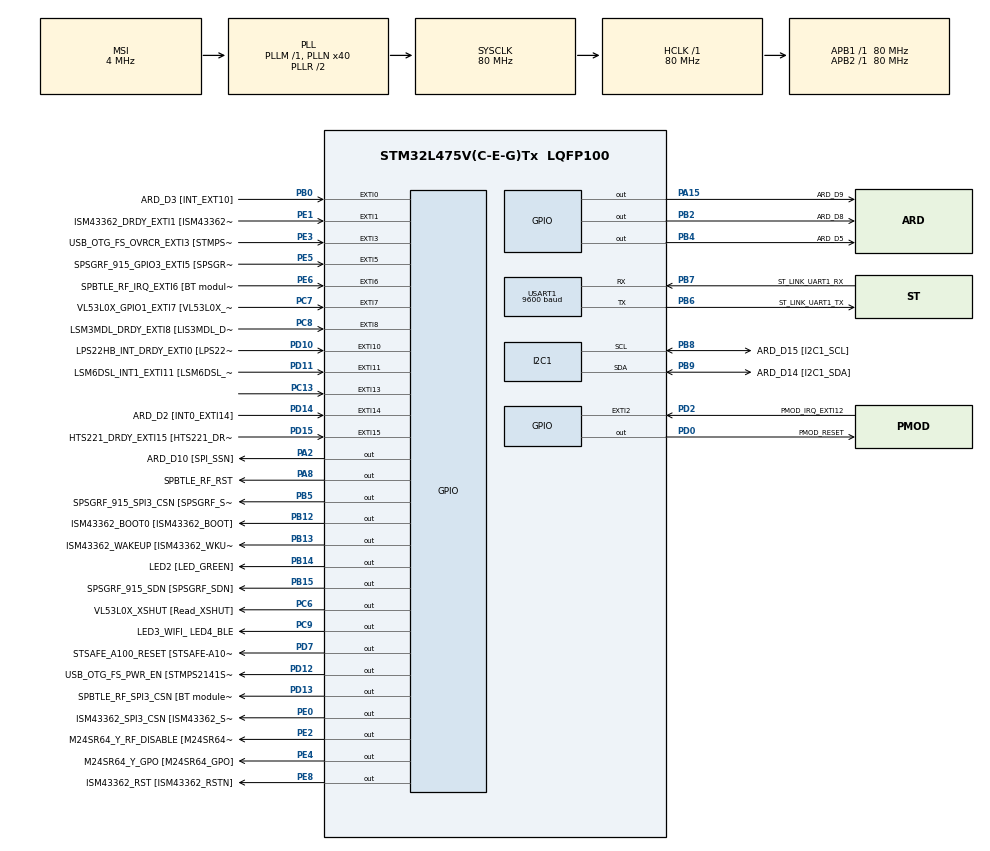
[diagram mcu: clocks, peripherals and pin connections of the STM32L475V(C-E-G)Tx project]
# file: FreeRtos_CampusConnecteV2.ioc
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FREERTOS.BinarySemaphores01=myBinarySem01,Dynamic,NULL
FREERTOS.Queues01=myQueue01,16,uint16_t,0,Dynamic,NULL,NULL
FREERTOS.Tasks01=defaultTask,0,128,StartDefaultTask,Default,NULL,Dynamic,NULL,NULL
FREERTOS.configUSE_NEWLIB_REENTRANT=1
I2C1.Timing=0x10909CEC
Mcu.Family=STM32L4
Mcu.Name=STM32L475V(C-E-G)Tx
Mcu.Package=LQFP100
NVIC.EXTI15_10_IRQn=true\:5\:0\:false\:false\:true\:true\:true\:true
NVIC.EXTI9_5_IRQn=true\:5\:0\:false\:false\:true\:true\:true\:true
NVIC.PriorityGroup=NVIC_PRIORITYGROUP_4
NVIC.TIM7_IRQn=true\:15\:0\:false\:false\:true\:false\:false\:true
NVIC.TimeBase=TIM7_IRQn
NVIC.TimeBaseIP=TIM7
PA0.GPIO_Label=ARD_D1 [UART4_TX]
PA0.Signal=UART4_TX
PA1.GPIO_Label=ARD_D0 [UART4_RX]
PA1.Signal=UART4_RX
PA10.GPIO_Label=USB_OTG_FS_ID
PA10.Signal=USB_OTG_FS_ID
PA11.GPIO_Label=USB_OTG_FS_DM
PA11.Signal=USB_OTG_FS_DM
PA12.GPIO_Label=USB_OTG_FS_DP
PA12.Signal=USB_OTG_FS_DP
PA13\ (JTMS-SWDIO).GPIO_Label=SYS_JTMS_SWDIO
PA13\ (JTMS-SWDIO).Signal=SYS_JTMS-SWDIO
PA14\ (JTCK-SWCLK).GPIO_Label=SYS_JTCK_SWCLK
PA14\ (JTCK-SWCLK).Signal=SYS_JTCK-SWCLK
PA15\ (JTDI).GPIO_Label=ARD_D9
PA15\ (JTDI).Signal=GPIO_Output
PA2.GPIO_Label=ARD_D10 [SPI_SSN]
PA2.Signal=GPIO_Output
PA3.GPIO_Label=ARD_D4
PA3.Signal=S_TIM2_CH4
PA4.GPIO_Label=ARD_D7
PA4.Signal=ADCx_IN9
PA5.GPIO_Label=ARD_D13 [SPI1_SCK]
PA5.Signal=SPI1_SCK
PA6.GPIO_Label=ARD_D12 [SPI1_MISO]
PA6.Signal=SPI1_MISO
PA7.GPIO_Label=ARD_D11 [SPI1_MOSI]
PA7.Signal=SPI1_MOSI
PA8.GPIO_Label=SPBTLE_RF_RST
PA8.Signal=GPIO_Output
PA9.GPIO_Label=USB_OTG_FS_VBUS [STMPS2141STR_OUT]
PA9.Signal=USB_OTG_FS_VBUS
PB0.GPIO_Label=ARD_D3 [INT_EXT10]
PB0.Signal=GPXTI0
PB1.GPIO_Label=ARD_D6 [ADC1_IN6]
PB1.Signal=ADCx_IN16
PB10.GPIO_Label=INTERNAL_I2C2_SCL [VL53L0X_SCL]
PB10.Signal=I2C2_SCL
PB11.GPIO_Label=INTERNAL_I2C2_SDA [VL53L0X_SDA]
PB11.Signal=I2C2_SDA
PB12.GPIO_Label=ISM43362_BOOT0 [ISM43362_BOOT]
PB12.Signal=GPIO_Output
PB13.GPIO_Label=ISM43362_WAKEUP [ISM43362_WKUP]
PB13.Signal=GPIO_Output
PB14.GPIO_Label=LED2 [LED_GREEN]
PB14.Signal=GPIO_Output
PB15.GPIO_Label=SPSGRF_915_SDN [SPSGRF_SDN]
PB15.Signal=GPIO_Output
PB2.GPIO_Label=ARD_D8
PB2.Signal=GPIO_Output
PB3\ (JTDO-TRACESWO).GPIO_Label=SYS_JTD0_SWO
PB3\ (JTDO-TRACESWO).Signal=SYS_JTDO-SWO
PB4\ (NJTRST).GPIO_Label=ARD_D5
PB4\ (NJTRST).Signal=GPIO_Output
PB5.GPIO_Label=SPSGRF_915_SPI3_CSN [SPSGRF_SPI_CS]
PB5.PinState=GPIO_PIN_SET
PB5.Signal=GPIO_Output
PB6.GPIO_Label=ST_LINK_UART1_TX
PB6.Mode=Asynchronous
PB6.Signal=USART1_TX
PB7.GPIO_Label=ST_LINK_UART1_RX
PB7.Mode=Asynchronous
PB7.Signal=USART1_RX
PB8.GPIO_Label=ARD_D15 [I2C1_SCL]
PB8.Mode=I2C
PB8.Signal=I2C1_SCL
PB9.GPIO_Label=ARD_D14 [I2C1_SDA]
PB9.Mode=I2C
PB9.Signal=I2C1_SDA
PC0.GPIO_Label=ARD_A5 [ADC]
PC0.Signal=ADCx_IN1
PC1.GPIO_Label=ARD_A4 [ADC]
PC1.Signal=ADCx_IN2
PC10.GPIO_Label=INTERNAL_SPI3_SCK [BT module_SPI_SCLK] [ISM43362_SCK]
PC10.Signal=SPI3_SCK
PC11.GPIO_Label=INTERNAL_SPI3_MISO [BT module_SPI_MISO] [ISM43362_MISO]
PC11.Signal=SPI3_MISO
PC12.GPIO_Label=INTERNAL_SPI3_MOSI [BT module_SPI_MOSI] [ISM43362_MOSI]
PC12.Signal=SPI3_MOSI
PC13.Signal=GPXTI13
PC14-OSC32_IN\ (PC14).Signal=RCC_OSC32_IN
PC15-OSC32_OUT\ (PC15).Signal=RCC_OSC32_OUT
PC2.GPIO_Label=ARD_A3 [ADC]
PC2.Signal=ADCx_IN3
PC3.GPIO_Label=ARD_A2 [ADC]
PC3.Signal=ADCx_IN4
PC4.GPIO_Label=ARD_A1 [ADC]
PC4.Signal=ADCx_IN13
PC5.GPIO_Label=ARD_A0 [ADC]
PC5.Signal=ADCx_IN14
PC6.GPIO_Label=VL53L0X_XSHUT [Read_XSHUT]
PC6.Signal=GPIO_Output
PC7.GPIO_Label=VL53L0X_GPIO1_EXTI7 [VL53L0X_GPIO1]
PC7.Signal=GPXTI7
PC8.GPIO_Label=LSM3MDL_DRDY_EXTI8 [LIS3MDL_DRDY]
PC8.Signal=GPXTI8
PC9.GPIO_Label=LED3_WIFI_ LED4_BLE
PC9.Signal=GPIO_Output
PD0.GPIO_Label=PMOD_RESET
PD0.Signal=GPIO_Output
PD1.GPIO_Label=PMOD_SPI2_SCK
PD1.Signal=SPI2_SCK
PD10.GPIO_Label=LPS22HB_INT_DRDY_EXTI0 [LPS22HB_INT_DRDY] 
PD10.Signal=GPXTI10
PD11.GPIO_Label=LSM6DSL_INT1_EXTI11 [LSM6DSL_INT1]
PD11.Signal=GPXTI11
PD12.GPIO_Label=USB_OTG_FS_PWR_EN [STMPS2141STR_EN]
PD12.Signal=GPIO_Output
PD13.GPIO_Label=SPBTLE_RF_SPI3_CSN [BT module_SPI_CS]
PD13.PinState=GPIO_PIN_SET
PD13.Signal=GPIO_Output
PD14.GPIO_Label=ARD_D2 [INT0_EXTI14]
PD14.Signal=GPXTI14
PD15.GPIO_Label=HTS221_DRDY_EXTI15 [HTS221_DRDY]
PD15.Signal=GPXTI15
PD2.GPIO_Label=PMOD_IRQ_EXTI12
PD2.Signal=GPXTI2
PD3.GPIO_Label=PMOD_UART2_CTS
PD3.Signal=USART2_CTS
PD4.GPIO_Label=PMOD_UART2_RTS
PD4.Signal=USART2_RTS
PD5.GPIO_Label=PMOD_UART2_TX
PD5.Signal=USART2_TX
PD6.GPIO_Label=PMOD_UART2_RX
PD6.Signal=USART2_RX
PD7.GPIO_Label=STSAFE_A100_RESET [STSAFE-A100_RESET]
PD7.Signal=GPIO_Output
PD8.GPIO_Label=INTERNAL_UART3_TX [ISM43362_RX]
PD8.Signal=USART3_TX
PD9.GPIO_Label=INTERNAL_UART3_RX [ISM43362_TX]
PD9.Signal=USART3_RX
PE0.GPIO_Label=ISM43362_SPI3_CSN [ISM43362_SSN]
PE0.PinState=GPIO_PIN_SET
PE0.Signal=GPIO_Output
PE1.GPIO_Label=ISM43362_DRDY_EXTI1 [ISM43362_DATARDY]
PE1.Signal=GPXTI1
PE10.GPIO_Label=QUADSPI_CLK [MX25R6435F_SCLK]
PE10.Signal=QUADSPI_CLK
PE11.GPIO_Label=QUADSPI_NCS [MX25R6435F_SCLK]
PE11.Signal=QUADSPI_NCS
PE12.GPIO_Label=OQUADSPI_BK1_IO0 [MX25R6435F_IO0]
PE12.Signal=QUADSPI_BK1_IO0
PE13.GPIO_Label=QUADSPI_BK1_IO1 [MX25R6435F_IO1]
PE13.Signal=QUADSPI_BK1_IO1
PE14.GPIO_Label=QUAD_SPI_BK1_IO2 [MX25R6435F_IO2]
PE14.Signal=QUADSPI_BK1_IO2
PE15.GPIO_Label=QUAD_SPI_BK1_IO3 [MX25R6435F_IO3]
PE15.Signal=QUADSPI_BK1_IO3
PE2.GPIO_Label=M24SR64_Y_RF_DISABLE [M24SR64_RFDIS]
PE2.Signal=GPIO_Output
PE3.GPIO_Label=USB_OTG_FS_OVRCR_EXTI3 [STMPS2141STR_FAULT]
PE3.Signal=GPXTI3
PE4.GPIO_Label=M24SR64_Y_GPO [M24SR64_GPO]
PE4.Signal=GPIO_Output
PE5.GPIO_Label=SPSGRF_915_GPIO3_EXTI5 [SPSGRF_GPIO_3]
PE5.Signal=GPXTI5
PE6.GPIO_Label=SPBTLE_RF_IRQ_EXTI6 [BT module_SPI_IRQ]
PE6.Signal=GPXTI6
PE7.GPIO_Label=DFSDM1_DATIN2 [MP34DT01_DOUT]
PE7.Signal=S_DATAIN2DFSDM1
PE8.GPIO_Label=ISM43362_RST [ISM43362_RSTN]
PE8.Signal=GPIO_Output
PE9.GPIO_Label=DFSDM1_CKOUT [MP34DT01_CLK]
PE9.Signal=S_CKOUTDFSDM1
ProjectManager.HeapSize=0x200
ProjectManager.StackSize=0x400
ProjectManager.TargetToolchain=STM32CubeIDE
RCC.ADCFreq_Value=48000000
RCC.AHBFreq_Value=80000000
RCC.APB1Freq_Value=80000000
RCC.APB1TimFreq_Value=80000000
RCC.APB2Freq_Value=80000000
RCC.APB2TimFreq_Value=80000000
RCC.CortexFreq_Value=80000000
RCC.HCLKFreq_Value=80000000
RCC.HSE_VALUE=8000000
RCC.HSI_VALUE=16000000
RCC.LSE_VALUE=32768
RCC.MSI_VALUE=4000000
RCC.PLLN=40
RCC.PLLSAI1N=24
RCC.SYSCLKFreq_VALUE=80000000
RCC.SYSCLKSource=RCC_SYSCLKSOURCE_PLLCLK
RCC.USBFreq_Value=48000000
RCC.VCOOutputFreq_Value=160000000
SH.ADCx_IN1.0=ADC1_IN1
SH.ADCx_IN13.0=ADC1_IN13
SH.ADCx_IN14.0=ADC1_IN14
SH.ADCx_IN16.0=ADC1_IN16
SH.ADCx_IN2.0=ADC1_IN2
SH.ADCx_IN3.0=ADC1_IN3
SH.ADCx_IN4.0=ADC1_IN4
SH.ADCx_IN9.0=ADC1_IN9
SH.S_CKOUTDFSDM1.0=DFSDM1_CKOUT
SH.S_DATAIN2DFSDM1.0=DFSDM1_DATIN2
SH.S_TIM2_CH4.0=TIM2_CH4
USART1.BaudRate=9600
USART1.VirtualMode-Asynchronous=VM_ASYNC
VP_FREERTOS_VS_CMSIS_V1.Mode=CMSIS_V1
VP_SYS_VS_tim7.Mode=TIM7
board=B-L475E-IOT01A1

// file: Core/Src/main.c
/* USER CODE BEGIN Header */
/**
  ******************************************************************************
  * @file           : main.c
  * @brief          : Main program body
  ******************************************************************************
  * @attention
  *
  * Copyright (c) 2022 STMicroelectronics.
  * All rights reserved.
  *
  * This software is licensed under terms that can be found in the LICENSE file
  * in the root directory of this software component.
  * If no LICENSE file comes with this software, it is provided AS-IS.
  *
  ******************************************************************************
  */
/* USER CODE END Header */
#include "main.h"
#include "cmsis_os.h"

/* USER CODE BEGIN PD */
#define sht35_ADDR 		0x45<<1 //adresse capteur SHT35
#define sgp30_ADDR 		0x58<<1 //adresse capteur SGP30
/* USER CODE END PD */

I2C_HandleTypeDef hi2c1;

UART_HandleTypeDef huart1;

osThreadId defaultTaskHandle;
osMessageQId myQueue01Handle;
osSemaphoreId myBinarySem01Handle;

void SystemClock_Config(void);
static void MX_GPIO_Init(void);
static void MX_I2C1_Init(void);
static void MX_USART1_UART_Init(void);
void StartDefaultTask(void const * argument);

/* USER CODE BEGIN 0 */

/*
void StartSensorTestTask(void * argument) {
	for (;;) {
		if(HAL_GPIO_ReadPin(GPIOC, GPIO_PIN_13) == 0)
			HAL_UART_Transmit(huart1, (uint16_t*) "Start Sensor test", 8, HAL_MAX_DELAY);
		//osSemaphoreWait(myBinarySem1Handle, osWaitForever);

		//osSemaphoreRelease(myBinarySem1Handle);
		osDelay(500);
	}

}
*/

void SHT35Task(void *pvParameters) {

	int Raw_Temperature;

	int Temp;
	int a = 1627;
	uint32_t TickDelay = pdMS_TO_TICKS(3000);

	for (;;) {

		Raw_Temperature = 650;

		Temp = -45 + 175 * ((int) Raw_Temperature); // / 65535; //calcul donné par le fournisseur Température

		HAL_UART_Transmit(&huart1,"Hello World\n\r", sizeof("Hello World\n\r"), 100);

		HAL_UART_Transmit(&huart1, "Entree task 1_1\n", sizeof("Entree task 1_1\n"), HAL_MAX_DELAY);
		//a += 10;

		osDelay(100);

		//osSemaphoreWait(myBinarySem01Handle, osWaitForever);

		xQueueSend(myQueue01Handle, &a, portMAX_DELAY);

		HAL_UART_Transmit(&huart1, "Entree task 1_2\n", sizeof("Entree task 1_2\n"), HAL_MAX_DELAY);

		osSemaphoreRelease(myBinarySem01Handle);
		vTaskDelay(TickDelay);

	}
}

void sht35PrintingTask(void *pvParameters) {
	for (;;) {

		int Temp = 0;

		//uint16_t tempBuff;

		uint32_t TickDelay = pdMS_TO_TICKS(3000);

		osSemaphoreWait(myBinarySem01Handle, osWaitForever);

			xQueueReceive(myQueue01Handle, &Temp, portMAX_DELAY);

			osSemaphoreRelease(myBinarySem01Handle);

			HAL_UART_Transmit(&huart1, "Temperature : ", sizeof("Temperature : "), HAL_MAX_DELAY);

			//sprintf((uint16_t*) tempBuff, "%d\n\r", Temp); //buffer de traitement pour affichage

			HAL_UART_Transmit(&huart1, Temp, sizeof(Temp) , HAL_MAX_DELAY);

			vTaskDelay(TickDelay);

	}

}

/* USER CODE END 0 */

int main(void)
{

  /* MCU Configuration--------------------------------------------------------*/

  /* Reset of all peripherals, Initializes the Flash interface and the Systick. */
  HAL_Init();

  /* Configure the system clock */
  SystemClock_Config();

  /* Initialize all configured peripherals */
  MX_GPIO_Init();
  MX_I2C1_Init();
  MX_USART1_UART_Init();

  /* Create the semaphores(s) */
  /* definition and creation of myBinarySem01 */
  osSemaphoreDef(myBinarySem01);
  myBinarySem01Handle = osSemaphoreCreate(osSemaphore(myBinarySem01), 1);

  /* Create the queue(s) */
  /* definition and creation of myQueue01 */
  osMessageQDef(myQueue01, 16, uint16_t);
  myQueue01Handle = osMessageCreate(osMessageQ(myQueue01), NULL);

  /* Create the thread(s) */
  /* definition and creation of defaultTask */
  osThreadDef(defaultTask, StartDefaultTask, osPriorityNormal, 0, 128);
  defaultTaskHandle = osThreadCreate(osThread(defaultTask), NULL);

  /* USER CODE BEGIN RTOS_THREADS */
  /* add threads, ... */
  xTaskCreate(SHT35Task, "SHT35Reading", 200, NULL,
   	tskIDLE_PRIORITY, NULL);

  xTaskCreate(sht35PrintingTask, "Printing", 200, NULL,
  	tskIDLE_PRIORITY, NULL);

  /* USER CODE END RTOS_THREADS */

  /* Start scheduler */
  osKernelStart();

  /* We should never get here as control is now taken by the scheduler */
  /* Infinite loop */
  while (1)
  {

  }
}

void SystemClock_Config(void)
{
  RCC_OscInitTypeDef RCC_OscInitStruct = {0};
  RCC_ClkInitTypeDef RCC_ClkInitStruct = {0};

  /** Configure the main internal regulator output voltage
  */
  if (HAL_PWREx_ControlVoltageScaling(PWR_REGULATOR_VOLTAGE_SCALE1) != HAL_OK)
  {
    Error_Handler();
  }
  /** Initializes the RCC Oscillators according to the specified parameters
  * in the RCC_OscInitTypeDef structure.
  */
  RCC_OscInitStruct.OscillatorType = RCC_OSCILLATORTYPE_MSI;
  RCC_OscInitStruct.MSIState = RCC_MSI_ON;
  RCC_OscInitStruct.MSICalibrationValue = 0;
  RCC_OscInitStruct.MSIClockRange = RCC_MSIRANGE_6;
  RCC_OscInitStruct.PLL.PLLState = RCC_PLL_ON;
  RCC_OscInitStruct.PLL.PLLSource = RCC_PLLSOURCE_MSI;
  RCC_OscInitStruct.PLL.PLLM = 1;
  RCC_OscInitStruct.PLL.PLLN = 40;
  RCC_OscInitStruct.PLL.PLLP = RCC_PLLP_DIV7;
  RCC_OscInitStruct.PLL.PLLQ = RCC_PLLQ_DIV2;
  RCC_OscInitStruct.PLL.PLLR = RCC_PLLR_DIV2;
  if (HAL_RCC_OscConfig(&RCC_OscInitStruct) != HAL_OK)
  {
    Error_Handler();
  }
  /** Initializes the CPU, AHB and APB buses clocks
  */
  RCC_ClkInitStruct.ClockType = RCC_CLOCKTYPE_HCLK|RCC_CLOCKTYPE_SYSCLK
                              |RCC_CLOCKTYPE_PCLK1|RCC_CLOCKTYPE_PCLK2;
  RCC_ClkInitStruct.SYSCLKSource = RCC_SYSCLKSOURCE_PLLCLK;
  RCC_ClkInitStruct.AHBCLKDivider = RCC_SYSCLK_DIV1;
  RCC_ClkInitStruct.APB1CLKDivider = RCC_HCLK_DIV1;
  RCC_ClkInitStruct.APB2CLKDivider = RCC_HCLK_DIV1;

  if (HAL_RCC_ClockConfig(&RCC_ClkInitStruct, FLASH_LATENCY_4) != HAL_OK)
  {
    Error_Handler();
  }
}

static void MX_I2C1_Init(void)
{

  hi2c1.Instance = I2C1;
  hi2c1.Init.Timing = 0x10909CEC;
  hi2c1.Init.OwnAddress1 = 0;
  hi2c1.Init.AddressingMode = I2C_ADDRESSINGMODE_7BIT;
  hi2c1.Init.DualAddressMode = I2C_DUALADDRESS_DISABLE;
  hi2c1.Init.OwnAddress2 = 0;
  hi2c1.Init.OwnAddress2Masks = I2C_OA2_NOMASK;
  hi2c1.Init.GeneralCallMode = I2C_GENERALCALL_DISABLE;
  hi2c1.Init.NoStretchMode = I2C_NOSTRETCH_DISABLE;
  if (HAL_I2C_Init(&hi2c1) != HAL_OK)
  {
    Error_Handler();
  }
  /** Configure Analogue filter
  */
  if (HAL_I2CEx_ConfigAnalogFilter(&hi2c1, I2C_ANALOGFILTER_ENABLE) != HAL_OK)
  {
    Error_Handler();
  }
  /** Configure Digital filter
  */
  if (HAL_I2CEx_ConfigDigitalFilter(&hi2c1, 0) != HAL_OK)
  {
    Error_Handler();
  }

}

static void MX_USART1_UART_Init(void)
{

  huart1.Instance = USART1;
  huart1.Init.BaudRate = 9600;
  huart1.Init.WordLength = UART_WORDLENGTH_8B;
  huart1.Init.StopBits = UART_STOPBITS_1;
  huart1.Init.Parity = UART_PARITY_NONE;
  huart1.Init.Mode = UART_MODE_TX_RX;
  huart1.Init.HwFlowCtl = UART_HWCONTROL_NONE;
  huart1.Init.OverSampling = UART_OVERSAMPLING_16;
  huart1.Init.OneBitSampling = UART_ONE_BIT_SAMPLE_DISABLE;
  huart1.AdvancedInit.AdvFeatureInit = UART_ADVFEATURE_NO_INIT;
  if (HAL_UART_Init(&huart1) != HAL_OK)
  {
    Error_Handler();
  }

}

static void MX_GPIO_Init(void)
{
  GPIO_InitTypeDef GPIO_InitStruct = {0};

  /* GPIO Ports Clock Enable */
  __HAL_RCC_GPIOE_CLK_ENABLE();
  __HAL_RCC_GPIOC_CLK_ENABLE();
  __HAL_RCC_GPIOA_CLK_ENABLE();
  __HAL_RCC_GPIOB_CLK_ENABLE();
  __HAL_RCC_GPIOD_CLK_ENABLE();

  /*Configure GPIO pin Output Level */
  HAL_GPIO_WritePin(GPIOE, M24SR64_Y_RF_DISABLE_Pin|M24SR64_Y_GPO_Pin|ISM43362_RST_Pin, GPIO_PIN_RESET);

  /*Configure GPIO pin Output Level */
  HAL_GPIO_WritePin(GPIOA, ARD_D10_Pin|SPBTLE_RF_RST_Pin|ARD_D9_Pin, GPIO_PIN_RESET);

  /*Configure GPIO pin Output Level */
  HAL_GPIO_WritePin(GPIOB, ARD_D8_Pin|ISM43362_BOOT0_Pin|ISM43362_WAKEUP_Pin|LED2_Pin
                          |SPSGRF_915_SDN_Pin|ARD_D5_Pin, GPIO_PIN_RESET);

  /*Configure GPIO pin Output Level */
  HAL_GPIO_WritePin(GPIOD, USB_OTG_FS_PWR_EN_Pin|PMOD_RESET_Pin|STSAFE_A100_RESET_Pin, GPIO_PIN_RESET);

  /*Configure GPIO pin Output Level */
  HAL_GPIO_WritePin(SPBTLE_RF_SPI3_CSN_GPIO_Port, SPBTLE_RF_SPI3_CSN_Pin, GPIO_PIN_SET);

  /*Configure GPIO pin Output Level */
  HAL_GPIO_WritePin(GPIOC, VL53L0X_XSHUT_Pin|LED3_WIFI__LED4_BLE_Pin, GPIO_PIN_RESET);

  /*Configure GPIO pin Output Level */
  HAL_GPIO_WritePin(SPSGRF_915_SPI3_CSN_GPIO_Port, SPSGRF_915_SPI3_CSN_Pin, GPIO_PIN_SET);

  /*Configure GPIO pin Output Level */
  HAL_GPIO_WritePin(ISM43362_SPI3_CSN_GPIO_Port, ISM43362_SPI3_CSN_Pin, GPIO_PIN_SET);

  /*Configure GPIO pins : M24SR64_Y_RF_DISABLE_Pin M24SR64_Y_GPO_Pin ISM43362_RST_Pin ISM43362_SPI3_CSN_Pin */
  GPIO_InitStruct.Pin = M24SR64_Y_RF_DISABLE_Pin|M24SR64_Y_GPO_Pin|ISM43362_RST_Pin|ISM43362_SPI3_CSN_Pin;
  GPIO_InitStruct.Mode = GPIO_MODE_OUTPUT_PP;
  GPIO_InitStruct.Pull = GPIO_NOPULL;
  GPIO_InitStruct.Speed = GPIO_SPEED_FREQ_LOW;
  HAL_GPIO_Init(GPIOE, &GPIO_InitStruct);

  /*Configure GPIO pins : USB_OTG_FS_OVRCR_EXTI3_Pin SPSGRF_915_GPIO3_EXTI5_Pin SPBTLE_RF_IRQ_EXTI6_Pin ISM43362_DRDY_EXTI1_Pin */
  GPIO_InitStruct.Pin = USB_OTG_FS_OVRCR_EXTI3_Pin|SPSGRF_915_GPIO3_EXTI5_Pin|SPBTLE_RF_IRQ_EXTI6_Pin|ISM43362_DRDY_EXTI1_Pin;
  GPIO_InitStruct.Mode = GPIO_MODE_IT_RISING;
  GPIO_InitStruct.Pull = GPIO_NOPULL;
  HAL_GPIO_Init(GPIOE, &GPIO_InitStruct);

  /*Configure GPIO pins : PC13 VL53L0X_GPIO1_EXTI7_Pin LSM3MDL_DRDY_EXTI8_Pin */
  GPIO_InitStruct.Pin = GPIO_PIN_13|VL53L0X_GPIO1_EXTI7_Pin|LSM3MDL_DRDY_EXTI8_Pin;
  GPIO_InitStruct.Mode = GPIO_MODE_IT_RISING;
  GPIO_InitStruct.Pull = GPIO_NOPULL;
  HAL_GPIO_Init(GPIOC, &GPIO_InitStruct);

  /*Configure GPIO pins : ARD_A5_Pin ARD_A4_Pin ARD_A3_Pin ARD_A2_Pin
                           ARD_A1_Pin ARD_A0_Pin */
  GPIO_InitStruct.Pin = ARD_A5_Pin|ARD_A4_Pin|ARD_A3_Pin|ARD_A2_Pin
                          |ARD_A1_Pin|ARD_A0_Pin;
  GPIO_InitStruct.Mode = GPIO_MODE_ANALOG_ADC_CONTROL;
  GPIO_InitStruct.Pull = GPIO_NOPULL;
  HAL_GPIO_Init(GPIOC, &GPIO_InitStruct);

  /*Configure GPIO pins : ARD_D1_Pin ARD_D0_Pin */
  GPIO_InitStruct.Pin = ARD_D1_Pin|ARD_D0_Pin;
  GPIO_InitStruct.Mode = GPIO_MODE_AF_PP;
  GPIO_InitStruct.Pull = GPIO_NOPULL;
  GPIO_InitStruct.Speed = GPIO_SPEED_FREQ_VERY_HIGH;
  GPIO_InitStruct.Alternate = GPIO_AF8_UART4;
  HAL_GPIO_Init(GPIOA, &GPIO_InitStruct);

  /*Configure GPIO pins : ARD_D10_Pin SPBTLE_RF_RST_Pin ARD_D9_Pin */
  GPIO_InitStruct.Pin = ARD_D10_Pin|SPBTLE_RF_RST_Pin|ARD_D9_Pin;
  GPIO_InitStruct.Mode = GPIO_MODE_OUTPUT_PP;
  GPIO_InitStruct.Pull = GPIO_NOPULL;
  GPIO_InitStruct.Speed = GPIO_SPEED_FREQ_LOW;
  HAL_GPIO_Init(GPIOA, &GPIO_InitStruct);

  /*Configure GPIO pin : ARD_D4_Pin */
  GPIO_InitStruct.Pin = ARD_D4_Pin;
  GPIO_InitStruct.Mode = GPIO_MODE_AF_PP;
  GPIO_InitStruct.Pull = GPIO_NOPULL;
  GPIO_InitStruct.Speed = GPIO_SPEED_FREQ_LOW;
  GPIO_InitStruct.Alternate = GPIO_AF1_TIM2;
  HAL_GPIO_Init(ARD_D4_GPIO_Port, &GPIO_InitStruct);

  /*Configure GPIO pin : ARD_D7_Pin */
  GPIO_InitStruct.Pin = ARD_D7_Pin;
  GPIO_InitStruct.Mode = GPIO_MODE_ANALOG_ADC_CONTROL;
  GPIO_InitStruct.Pull = GPIO_NOPULL;
  HAL_GPIO_Init(ARD_D7_GPIO_Port, &GPIO_InitStruct);

  /*Configure GPIO pins : ARD_D13_Pin ARD_D12_Pin ARD_D11_Pin */
  GPIO_InitStruct.Pin = ARD_D13_Pin|ARD_D12_Pin|ARD_D11_Pin;
  GPIO_InitStruct.Mode = GPIO_MODE_AF_PP;
  GPIO_InitStruct.Pull = GPIO_NOPULL;
  GPIO_InitStruct.Speed = GPIO_SPEED_FREQ_VERY_HIGH;
  GPIO_InitStruct.Alternate = GPIO_AF5_SPI1;
  HAL_GPIO_Init(GPIOA, &GPIO_InitStruct);

  /*Configure GPIO pin : ARD_D3_Pin */
  GPIO_InitStruct.Pin = ARD_D3_Pin;
  GPIO_InitStruct.Mode = GPIO_MODE_IT_RISING;
  GPIO_InitStruct.Pull = GPIO_NOPULL;
  HAL_GPIO_Init(ARD_D3_GPIO_Port, &GPIO_InitStruct);

  /*Configure GPIO pin : ARD_D6_Pin */
  GPIO_InitStruct.Pin = ARD_D6_Pin;
  GPIO_InitStruct.Mode = GPIO_MODE_ANALOG_ADC_CONTROL;
  GPIO_InitStruct.Pull = GPIO_NOPULL;
  HAL_GPIO_Init(ARD_D6_GPIO_Port, &GPIO_InitStruct);

  /*Configure GPIO pins : ARD_D8_Pin ISM43362_BOOT0_Pin ISM43362_WAKEUP_Pin LED2_Pin
                           SPSGRF_915_SDN_Pin ARD_D5_Pin SPSGRF_915_SPI3_CSN_Pin */
  GPIO_InitStruct.Pin = ARD_D8_Pin|ISM43362_BOOT0_Pin|ISM43362_WAKEUP_Pin|LED2_Pin
                          |SPSGRF_915_SDN_Pin|ARD_D5_Pin|SPSGRF_915_SPI3_CSN_Pin;
  GPIO_InitStruct.Mode = GPIO_MODE_OUTPUT_PP;
  GPIO_InitStruct.Pull = GPIO_NOPULL;
  GPIO_InitStruct.Speed = GPIO_SPEED_FREQ_LOW;
  HAL_GPIO_Init(GPIOB, &GPIO_InitStruct);

  /*Configure GPIO pins : DFSDM1_DATIN2_Pin DFSDM1_CKOUT_Pin */
  GPIO_InitStruct.Pin = DFSDM1_DATIN2_Pin|DFSDM1_CKOUT_Pin;
  GPIO_InitStruct.Mode = GPIO_MODE_AF_PP;
  GPIO_InitStruct.Pull = GPIO_NOPULL;
  GPIO_InitStruct.Speed = GPIO_SPEED_FREQ_LOW;
  GPIO_InitStruct.Alternate = GPIO_AF6_DFSDM1;
  HAL_GPIO_Init(GPIOE, &GPIO_InitStruct);

  /*Configure GPIO pins : QUADSPI_CLK_Pin QUADSPI_NCS_Pin OQUADSPI_BK1_IO0_Pin QUADSPI_BK1_IO1_Pin
                           QUAD_SPI_BK1_IO2_Pin QUAD_SPI_BK1_IO3_Pin */
  GPIO_InitStruct.Pin = QUADSPI_CLK_Pin|QUADSPI_NCS_Pin|OQUADSPI_BK1_IO0_Pin|QUADSPI_BK1_IO1_Pin
                          |QUAD_SPI_BK1_IO2_Pin|QUAD_SPI_BK1_IO3_Pin;
  GPIO_InitStruct.Mode = GPIO_MODE_AF_PP;
  GPIO_InitStruct.Pull = GPIO_NOPULL;
  GPIO_InitStruct.Speed = GPIO_SPEED_FREQ_VERY_HIGH;
  GPIO_InitStruct.Alternate = GPIO_AF10_QUADSPI;
  HAL_GPIO_Init(GPIOE, &GPIO_InitStruct);

  /*Configure GPIO pins : INTERNAL_I2C2_SCL_Pin INTERNAL_I2C2_SDA_Pin */
  GPIO_InitStruct.Pin = INTERNAL_I2C2_SCL_Pin|INTERNAL_I2C2_SDA_Pin;
  GPIO_InitStruct.Mode = GPIO_MODE_AF_OD;
  GPIO_InitStruct.Pull = GPIO_NOPULL;
  GPIO_InitStruct.Speed = GPIO_SPEED_FREQ_VERY_HIGH;
  GPIO_InitStruct.Alternate = GPIO_AF4_I2C2;
  HAL_GPIO_Init(GPIOB, &GPIO_InitStruct);

  /*Configure GPIO pins : INTERNAL_UART3_TX_Pin INTERNAL_UART3_RX_Pin */
  GPIO_InitStruct.Pin = INTERNAL_UART3_TX_Pin|INTERNAL_UART3_RX_Pin;
  GPIO_InitStruct.Mode = GPIO_MODE_AF_PP;
  GPIO_InitStruct.Pull = GPIO_NOPULL;
  GPIO_InitStruct.Speed = GPIO_SPEED_FREQ_VERY_HIGH;
  GPIO_InitStruct.Alternate = GPIO_AF7_USART3;
  HAL_GPIO_Init(GPIOD, &GPIO_InitStruct);

  /*Configure GPIO pins : LPS22HB_INT_DRDY_EXTI0_Pin LSM6DSL_INT1_EXTI11_Pin ARD_D2_Pin HTS221_DRDY_EXTI15_Pin
                           PMOD_IRQ_EXTI12_Pin */
  GPIO_InitStruct.Pin = LPS22HB_INT_DRDY_EXTI0_Pin|LSM6DSL_INT1_EXTI11_Pin|ARD_D2_Pin|HTS221_DRDY_EXTI15_Pin
                          |PMOD_IRQ_EXTI12_Pin;
  GPIO_InitStruct.Mode = GPIO_MODE_IT_RISING;
  GPIO_InitStruct.Pull = GPIO_NOPULL;
  HAL_GPIO_Init(GPIOD, &GPIO_InitStruct);

  /*Configure GPIO pins : USB_OTG_FS_PWR_EN_Pin SPBTLE_RF_SPI3_CSN_Pin PMOD_RESET_Pin STSAFE_A100_RESET_Pin */
  GPIO_InitStruct.Pin = USB_OTG_FS_PWR_EN_Pin|SPBTLE_RF_SPI3_CSN_Pin|PMOD_RESET_Pin|STSAFE_A100_RESET_Pin;
  GPIO_InitStruct.Mode = GPIO_MODE_OUTPUT_PP;
  GPIO_InitStruct.Pull = GPIO_NOPULL;
  GPIO_InitStruct.Speed = GPIO_SPEED_FREQ_LOW;
  HAL_GPIO_Init(GPIOD, &GPIO_InitStruct);

  /*Configure GPIO pins : VL53L0X_XSHUT_Pin LED3_WIFI__LED4_BLE_Pin */
  GPIO_InitStruct.Pin = VL53L0X_XSHUT_Pin|LED3_WIFI__LED4_BLE_Pin;
  GPIO_InitStruct.Mode = GPIO_MODE_OUTPUT_PP;
  GPIO_InitStruct.Pull = GPIO_NOPULL;
  GPIO_InitStruct.Speed = GPIO_SPEED_FREQ_LOW;
  HAL_GPIO_Init(GPIOC, &GPIO_InitStruct);

  /*Configure GPIO pin : USB_OTG_FS_VBUS_Pin */
  GPIO_InitStruct.Pin = USB_OTG_FS_VBUS_Pin;
  GPIO_InitStruct.Mode = GPIO_MODE_INPUT;
  GPIO_InitStruct.Pull = GPIO_NOPULL;
  HAL_GPIO_Init(USB_OTG_FS_VBUS_GPIO_Port, &GPIO_InitStruct);

  /*Configure GPIO pins : USB_OTG_FS_ID_Pin USB_OTG_FS_DM_Pin USB_OTG_FS_DP_Pin */
  GPIO_InitStruct.Pin = USB_OTG_FS_ID_Pin|USB_OTG_FS_DM_Pin|USB_OTG_FS_DP_Pin;
  GPIO_InitStruct.Mode = GPIO_MODE_AF_PP;
  GPIO_InitStruct.Pull = GPIO_NOPULL;
  GPIO_InitStruct.Speed = GPIO_SPEED_FREQ_VERY_HIGH;
  GPIO_InitStruct.Alternate = GPIO_AF10_OTG_FS;
  HAL_GPIO_Init(GPIOA, &GPIO_InitStruct);

  /*Configure GPIO pins : INTERNAL_SPI3_SCK_Pin INTERNAL_SPI3_MISO_Pin INTERNAL_SPI3_MOSI_Pin */
  GPIO_InitStruct.Pin = INTERNAL_SPI3_SCK_Pin|INTERNAL_SPI3_MISO_Pin|INTERNAL_SPI3_MOSI_Pin;
  GPIO_InitStruct.Mode = GPIO_MODE_AF_PP;
  GPIO_InitStruct.Pull = GPIO_NOPULL;
  GPIO_InitStruct.Speed = GPIO_SPEED_FREQ_VERY_HIGH;
  GPIO_InitStruct.Alternate = GPIO_AF6_SPI3;
  HAL_GPIO_Init(GPIOC, &GPIO_InitStruct);

  /*Configure GPIO pin : PMOD_SPI2_SCK_Pin */
  GPIO_InitStruct.Pin = PMOD_SPI2_SCK_Pin;
  GPIO_InitStruct.Mode = GPIO_MODE_AF_PP;
  GPIO_InitStruct.Pull = GPIO_NOPULL;
  GPIO_InitStruct.Speed = GPIO_SPEED_FREQ_VERY_HIGH;
  GPIO_InitStruct.Alternate = GPIO_AF5_SPI2;
  HAL_GPIO_Init(PMOD_SPI2_SCK_GPIO_Port, &GPIO_InitStruct);

  /*Configure GPIO pins : PMOD_UART2_CTS_Pin PMOD_UART2_RTS_Pin PMOD_UART2_TX_Pin PMOD_UART2_RX_Pin */
  GPIO_InitStruct.Pin = PMOD_UART2_CTS_Pin|PMOD_UART2_RTS_Pin|PMOD_UART2_TX_Pin|PMOD_UART2_RX_Pin;
  GPIO_InitStruct.Mode = GPIO_MODE_AF_PP;
  GPIO_InitStruct.Pull = GPIO_NOPULL;
  GPIO_InitStruct.Speed = GPIO_SPEED_FREQ_VERY_HIGH;
  GPIO_InitStruct.Alternate = GPIO_AF7_USART2;
  HAL_GPIO_Init(GPIOD, &GPIO_InitStruct);

  /* EXTI interrupt init*/
  HAL_NVIC_SetPriority(EXTI9_5_IRQn, 5, 0);
  HAL_NVIC_EnableIRQ(EXTI9_5_IRQn);

  HAL_NVIC_SetPriority(EXTI15_10_IRQn, 5, 0);
  HAL_NVIC_EnableIRQ(EXTI15_10_IRQn);

}

void StartDefaultTask(void const * argument)
{
  for(;;)
  {
    osDelay(1);
  }
}

void HAL_TIM_PeriodElapsedCallback(TIM_HandleTypeDef *htim)
{
  if (htim->Instance == TIM7) {
    HAL_IncTick();
  }
}

void Error_Handler(void)
{
  __disable_irq();
  while (1)
  {
  }
}
